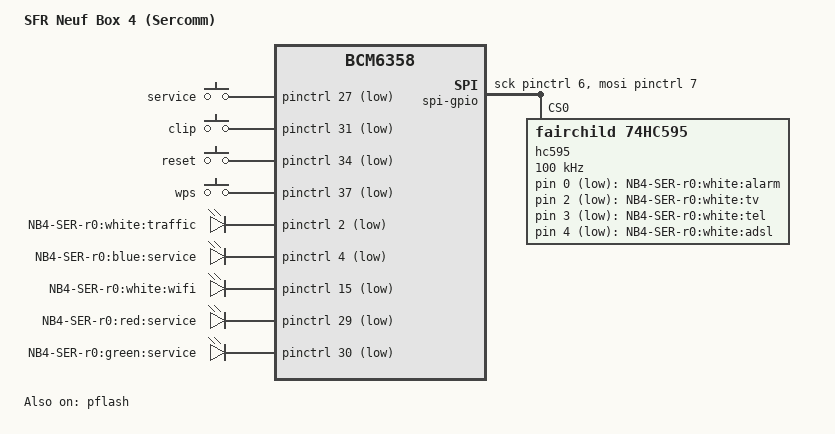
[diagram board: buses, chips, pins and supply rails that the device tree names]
/dts-v1/;

#include "bcm6358.dtsi"

#include <dt-bindings/input/input.h>

/ {
	model = "SFR Neuf Box 4 (Sercomm)";
	compatible = "sfr,nb4-ser-r0", "brcm,bcm6358";

	chosen {
		bootargs = "root=/dev/mtdblock2 rootfstype=squashfs,jffs2 noinitrd console=ttyS0,115200";
	};

	spi-gpio {
		#address-cells = <1>;
		#size-cells = <0>;
		compatible = "spi-gpio";

		gpio-mosi = <&pinctrl 7 0>;
		gpio-sck = <&pinctrl 6 0>;
		num-chipselects = <0>;

		hc595: gpio-spi-controller@0 {
			compatible = "fairchild,74hc595";
			reg = <0>;
			registers-number = <1>;
			spi-max-frequency = <100000>;

			gpio-controller;
			#gpio-cells = <2>;
		};
	};

	gpio-keys-polled {
		compatible = "gpio-keys-polled";
		#address-cells = <1>;
		#size-cells = <0>;
		poll-interval = <20>;
		debounce-interval = <60>;

		service {
			label = "service";
			gpios = <&pinctrl 27 1>;
			linux,code = <BTN_0>;
		};
		clip {
			label = "clip";
			gpios = <&pinctrl 31 1>;
			linux,code = <BTN_1>;
		};
		reset {
			label = "reset";
			gpios = <&pinctrl 34 1>;
			linux,code = <KEY_RESTART>;
		};
		wps {
			label = "wps";
			gpios = <&pinctrl 37 1>;
			linux,code = <KEY_WPS_BUTTON>;
		};
	};

	gpio-leds {
		compatible = "gpio-leds";

		traffic_white {
			label = "NB4-SER-r0:white:traffic";
			gpios = <&pinctrl 2 1>;
		};
		service_blue {
			label = "NB4-SER-r0:blue:service";
			gpios = <&pinctrl 4 1>;
		};
		wifi_white {
			label = "NB4-SER-r0:white:wifi";
			gpios = <&pinctrl 15 1>;
		};
		service_red {
			label = "NB4-SER-r0:red:service";
			gpios = <&pinctrl 29 1>;
		};
		service_green {
			label = "NB4-SER-r0:green:service";
			gpios = <&pinctrl 30 1>;
		};
		alarm_white {
			label = "NB4-SER-r0:white:alarm";
			gpios = <&hc595 0 1>;
		};
		tv_white {
			label = "NB4-SER-r0:white:tv";
			gpios = <&hc595 2 1>;
		};
		tel_white {
			label = "NB4-SER-r0:white:tel";
			gpios = <&hc595 3 1>;
		};
		adsl_white {
			label = "NB4-SER-r0:white:adsl";
			gpios = <&hc595 4 1>;
		};
	};
};

&pflash {
	status = "ok";

	linux,part-probe = "bcm63xxpart";
};
